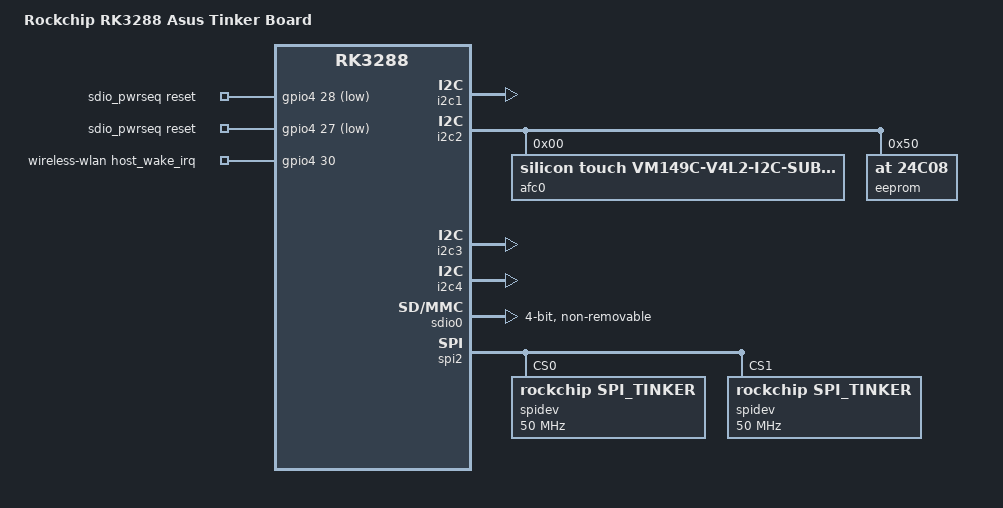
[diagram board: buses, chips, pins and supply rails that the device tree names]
// SPDX-License-Identifier: (GPL-2.0+ OR MIT)
/*
 * Copyright (c) 2017 Fuzhou Rockchip Electronics Co., Ltd.
 */

/dts-v1/;

#include "rk3288-tinker.dtsi"
#include <dt-bindings/clock/rockchip,rk808.h>

/ {
	model = "Rockchip RK3288 Asus Tinker Board";
	compatible = "asus,rk3288-tinker", "rockchip,rk3288";

	/* This is essential to get SDIO devices working.
	   The Wifi depends on SDIO ! */
	sdio_pwrseq: sdio-pwrseq {
		compatible = "mmc-pwrseq-simple";
		clocks = <&rk808 RK808_CLKOUT1>;
		clock-names = "ext_clock";
		pinctrl-names = "default";
		pinctrl-0 = <&chip_enable_h>, <&wifi_enable_h>;

		/*
		 * On the module itself this is one of these (depending
		 * on the actual card populated):
		 * - SDIO_RESET_L_WL_REG_ON
		 * - PDN (power down when low)
		 */
		reset-gpios = <&gpio4 28 GPIO_ACTIVE_LOW>, <&gpio4 27 GPIO_ACTIVE_LOW>;
	};

	wireless-wlan {
		compatible = "wlan-platdata";
		rockchip,grf = <&grf>;
		sdio_vref = <1800>;
		status = "okay";
		wifi_chip_type = "8723bs";
		WIFI,host_wake_irq = <&gpio4 30 GPIO_ACTIVE_HIGH>;
	};
};

&i2c1 {
	status = "okay";
};

&i2c2 {
	afc0:af-controller@0 {
		status = "okay";
		compatible = "silicon touch,vm149C-v4l2-i2c-subdev";
		reg = <0x0 0x0c>;
	};

	eeprom:m24c08@50 {
		compatible = "at,24c08";
		reg = <0x50>;
	};
};

&i2c3 {
	status = "okay";
};

&i2c4 {
	status = "okay";
};

&io_domains {
	wifi-supply = <&vcc_18>;
};

&pinctrl {
	sdio-pwrseq {
		wifi_enable_h: wifienable-h {
			rockchip,pins = <4 28 RK_FUNC_GPIO &pcfg_pull_none>;
		};

		chip_enable_h: chip-enable-h {
			rockchip,pins = <4 27 RK_FUNC_GPIO &pcfg_pull_none>;
		};
	};
};

&sdio0 {
	bus-width = <4>;
	cap-sd-highspeed;
	cap-sdio-irq;
	clock-frequency = <50000000>;
	clock-freq-min-max = <200000 50000000>;
	disable-wp;
	keep-power-in-suspend;
	mmc-pwrseq = <&sdio_pwrseq>;
	non-removable;
	num-slots = <1>;
	pinctrl-names = "default";
	pinctrl-0 = <&sdio0_bus4 &sdio0_cmd &sdio0_clk>;
	sd-uhs-sdr104;
	status = "okay";
	supports-sdio;
};

&spi2 {
	max-freq = <50000000>;
	status = "okay";

	spidev@0 {
		compatible = "rockchip,spi_tinker";
		reg = <0x0 0>;
		spi-max-frequency = <50000000>;
		spi-cpha = <1>;
	};

	spidev@1 {
		compatible = "rockchip,spi_tinker";
		reg = <0x1>;
		spi-max-frequency = <50000000>;
		spi-cpha = <1>;
	};
};

&uart0 {
	pinctrl-names = "default";
	pinctrl-0 = <&uart0_xfer>, <&uart0_cts>, <&uart0_rts>;
};

